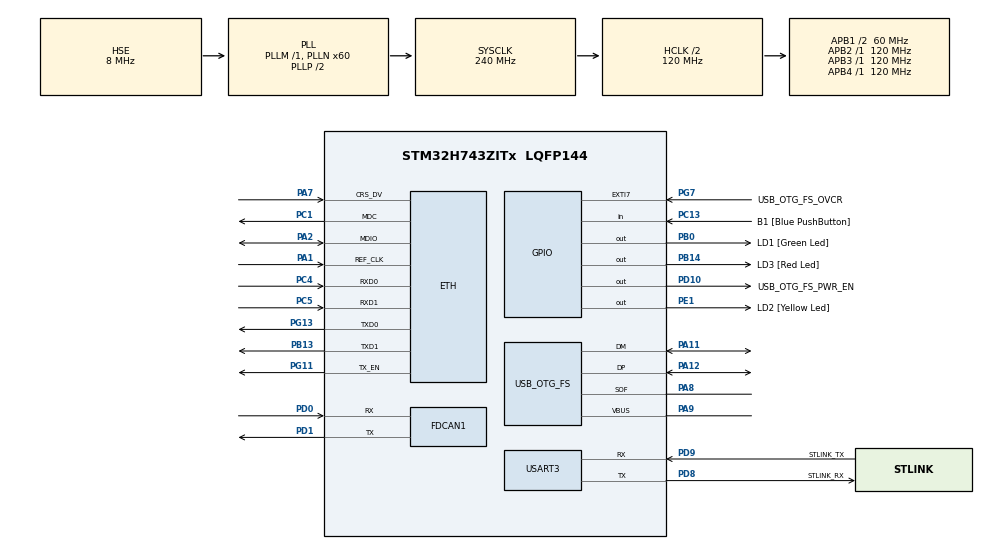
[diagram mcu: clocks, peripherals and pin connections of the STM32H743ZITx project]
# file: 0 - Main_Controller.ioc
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ETH.MediaInterface=HAL_ETH_RMII_MODE
FDCAN1.NominalPrescaler=4
FDCAN1.NominalTimeSeg1=12
FDCAN1.RxBuffersNbr=1
FDCAN1.RxFifo0ElmtsNbr=1
FDCAN1.RxFifo1ElmtsNbr=1
FDCAN1.TxFifoQueueElmtsNbr=1
Mcu.Family=STM32H7
Mcu.Name=STM32H743ZITx
Mcu.Package=LQFP144
NVIC.FDCAN1_IT0_IRQn=true\:0\:0\:false\:false\:true\:true\:true
NVIC.PriorityGroup=NVIC_PRIORITYGROUP_4
NVIC.TIM2_IRQn=true\:1\:0\:true\:false\:true\:true\:true
NVIC.TIM3_IRQn=true\:1\:0\:true\:false\:true\:true\:true
NVIC.TIM4_IRQn=true\:2\:0\:true\:false\:true\:true\:true
NVIC.USART3_IRQn=true\:1\:0\:true\:false\:true\:true\:true
PA1.Mode=RMII
PA1.Signal=ETH_REF_CLK
PA11.Mode=Device_Only
PA11.Signal=USB_OTG_FS_DM
PA12.Mode=Device_Only
PA12.Signal=USB_OTG_FS_DP
PA2.Mode=RMII
PA2.Signal=ETH_MDIO
PA7.Mode=RMII
PA7.Signal=ETH_CRS_DV
PA8.Mode=Activate_SOF_FS
PA8.Signal=USB_OTG_FS_SOF
PA9.Mode=Activate_VBUS
PA9.Signal=USB_OTG_FS_VBUS
PB0.GPIO_Label=LD1 [Green Led]
PB0.Signal=GPIO_Output
PB13.Mode=RMII
PB13.Signal=ETH_TXD1
PB14.GPIO_Label=LD3 [Red Led]
PB14.Signal=GPIO_Output
PC1.Mode=RMII
PC1.Signal=ETH_MDC
PC13.GPIO_Label=B1 [Blue PushButton]
PC13.Signal=GPIO_Input
PC14-OSC32_IN\ (OSC32_IN).Mode=LSE-External-Oscillator
PC14-OSC32_IN\ (OSC32_IN).Signal=RCC_OSC32_IN
PC15-OSC32_OUT\ (OSC32_OUT).Mode=LSE-External-Oscillator
PC15-OSC32_OUT\ (OSC32_OUT).Signal=RCC_OSC32_OUT
PC4.Mode=RMII
PC4.Signal=ETH_RXD0
PC5.Mode=RMII
PC5.Signal=ETH_RXD1
PD0.Mode=FDCAN_Activate
PD0.Signal=FDCAN1_RX
PD1.Mode=FDCAN_Activate
PD1.Signal=FDCAN1_TX
PD10.GPIO_Label=USB_OTG_FS_PWR_EN
PD10.Signal=GPIO_Output
PD8.GPIO_Label=STLINK_RX
PD8.Mode=Asynchronous
PD8.Signal=USART3_TX
PD9.GPIO_Label=STLINK_TX
PD9.Mode=Asynchronous
PD9.Signal=USART3_RX
PE1.GPIO_Label=LD2 [Yellow Led]
PE1.Signal=GPIO_Output
PG11.Mode=RMII
PG11.Signal=ETH_TX_EN
PG13.Mode=RMII
PG13.Signal=ETH_TXD0
PG7.GPIO_Label=USB_OTG_FS_OVCR
PG7.Signal=GPXTI7
PH0-OSC_IN\ (PH0).Mode=HSE-External-Clock-Source
PH0-OSC_IN\ (PH0).Signal=RCC_OSC_IN
PH1-OSC_OUT\ (PH1).Signal=RCC_OSC_OUT
ProjectManager.HeapSize=0x200
ProjectManager.StackSize=0x400
ProjectManager.TargetToolchain=STM32CubeIDE
RCC.ADCFreq_Value=16125000
RCC.APB1Freq_Value=60000000
RCC.APB2Freq_Value=120000000
RCC.APB3Freq_Value=120000000
RCC.APB4Freq_Value=120000000
RCC.CortexFreq_Value=240000000
RCC.D2PPRE1=RCC_APB1_DIV2
RCC.DIVM1=1
RCC.DIVN1=60
RCC.DIVQ1=8
RCC.HCLKFreq_Value=120000000
RCC.HPRE=RCC_HCLK_DIV2
RCC.HSE_VALUE=8000000
RCC.PLL2FRACN=0
RCC.PLL3FRACN=0
RCC.PLLFRACN=0
RCC.PWR_Regulator_Voltage_Scale=PWR_REGULATOR_VOLTAGE_SCALE2
RCC.SYSCLKFreq_VALUE=240000000
RCC.SYSCLKSource=RCC_SYSCLKSOURCE_PLLCLK
RCC.USBFreq_Value=60000000
TIM2.Period=1000
TIM2.Prescaler=120
TIM3.Period=10000
TIM3.Prescaler=120
TIM4.Period=10000 - 1
TIM4.Prescaler=1200 - 1
USART3.VirtualMode-Asynchronous=VM_ASYNC
USB_OTG_FS.VirtualMode=Device_Only
VP_TIM2_VS_ClockSourceINT.Mode=Internal
VP_TIM3_VS_ClockSourceINT.Mode=Internal
VP_TIM4_VS_ClockSourceINT.Mode=Internal
board=NUCLEO-H743ZI2

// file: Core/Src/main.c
/* USER CODE BEGIN Header */
/**
  ******************************************************************************
  * @file           : main.c
  * @brief          : Main program body
  ******************************************************************************
  * POPUP Robot Main Controller
  * @Author: Francesco Gambino
  * @Year: 2021
  *
  ******************************************************************************
  */
/* USER CODE END Header */
#include "main.h"
#include "string.h"

/* USER CODE BEGIN Includes */
#include <math.h>
#include <retarget.h> // Fprintf sulla seriale
#include <stdio.h>
/* USER CODE END Includes */

/* USER CODE BEGIN PD */

// KINEMATIC VARIABLES
#define L1 0.745
#define L2 0.795
#define OFF 0.12
#define L1square 0.555025
#define L2square 0.632025
#define OFFsquare 0.0144

//ACTUATOR LIMITS
#define P_MAX 12.5 // posizione
#define V_MAX 6 // velocità
#define T_MAX 48 // coppia
#define Kp_MAX 500 // non vengono utilizzati, sono posti a zero. Sono relativi al controllo del firmware del driver dei motori
#define Kd_MAX 1000
// CAN ID
#define MOTOR1 1
#define MOTOR2 2
#define MOTOR3 3
#define MOTOR_FB 0 // Nel pacchetto di feedback, ID unico per tutti i motori, è presente una stringa che dichiara da quale motore proviene il feedback

#define LINK_BOARD_1 10
#define LINK_BOARD_2 11
#define LINK_BOARD_FB_MSG_ID 0x6 // ID definito in esadecimale
#define LINK_BOARD_STATUS_MSG_ID 0x14 // ID definito in esadecimale
#define LINK_BOARD_CALIBRATION_CHECK_MSG_ID 0x28 // ID definito in esadecimale
// Gli status, feedback, calibration hanno un unico ID poichè all'interno una stringa mi indica a quale Board mi riferisco

#define MAX_POS_ERROR 0.01

#define MOTOR_FB_DEBUG 0
#define TRAJ_PLAN_DEBUG 0
#define POS_CONTROLLER_DEBUG 0
#define SPEED_CONTROLLER_DEBUG 0

int LINK_FB_DEBUG = 0;
int TELEMETRY  = 0;

//CONTROLLER DEFINEs
#define MAX_INTEGRAL_ERROR 1000
/* USER CODE END PD */

#if defined ( __ICCARM__ ) /*!< IAR Compiler */

#pragma location=0x30040000
ETH_DMADescTypeDef  DMARxDscrTab[ETH_RX_DESC_CNT]; /* Ethernet Rx DMA Descriptors */
#pragma location=0x30040060
ETH_DMADescTypeDef  DMATxDscrTab[ETH_TX_DESC_CNT]; /* Ethernet Tx DMA Descriptors */
#pragma location=0x30040200
uint8_t Rx_Buff[ETH_RX_DESC_CNT][ETH_MAX_PACKET_SIZE]; /* Ethernet Receive Buffers */

#elif defined ( __CC_ARM )  /* MDK ARM Compiler */

__attribute__((at(0x30040000))) ETH_DMADescTypeDef  DMARxDscrTab[ETH_RX_DESC_CNT]; /* Ethernet Rx DMA Descriptors */
__attribute__((at(0x30040060))) ETH_DMADescTypeDef  DMATxDscrTab[ETH_TX_DESC_CNT]; /* Ethernet Tx DMA Descriptors */
__attribute__((at(0x30040200))) uint8_t Rx_Buff[ETH_RX_DESC_CNT][ETH_MAX_PACKET_SIZE]; /* Ethernet Receive Buffer */

#elif defined ( __GNUC__ ) /* GNU Compiler */

ETH_DMADescTypeDef DMARxDscrTab[ETH_RX_DESC_CNT] __attribute__((section(".RxDecripSection"))); /* Ethernet Rx DMA Descriptors */
ETH_DMADescTypeDef DMATxDscrTab[ETH_TX_DESC_CNT] __attribute__((section(".TxDecripSection")));   /* Ethernet Tx DMA Descriptors */
uint8_t Rx_Buff[ETH_RX_DESC_CNT][ETH_MAX_PACKET_SIZE] __attribute__((section(".RxArraySection"))); /* Ethernet Receive Buffers */

#endif

ETH_TxPacketConfig TxConfig;

ETH_HandleTypeDef heth;

FDCAN_HandleTypeDef hfdcan1;

TIM_HandleTypeDef htim2;
TIM_HandleTypeDef htim3;
TIM_HandleTypeDef htim4;

UART_HandleTypeDef huart3;

PCD_HandleTypeDef hpcd_USB_OTG_FS;

/* USER CODE BEGIN PV */
// Fatto da Francesco!
// CAN PARAMETERS AND BUFFERS
FDCAN_TxHeaderTypeDef pTxHeader; //Nome della variabile,dettagliata in seguito
FDCAN_FilterTypeDef sFilterConfig; //Nome della variabile, dettagliata in seguito
FDCAN_RxHeaderTypeDef pRxHeader; //Nome della variabile, dettagliata in seguito

uint8_t CAN_tx_buffer[8]; // Buffer per la trasmissione, 8 elementi ( da 0 a 7)
uint8_t CAN_rx_buffer[8]; // Buffer per la ricezione

//TARGET VARIABLES
float Cartesian_target[3]; // Vettore composto da 3 elementi
float Joint_target[3];
float Joint_speed_target[3];

// ACTUATORS FEEDBACK VARIABLES
float actualPos[3];
float actualSpeed[3];
float actualCurr[3];

// TRAJECTORY PLANNER BUFFER
float Joint_target_plan[2000][3]; //matrix of Ns rows and 3 column
float Joint_speed_target_plan[2000][3];
int plan_counter = 0;
int flag_traj_compl = 0;

// POSITION CONTROLLER VARIABLES
float Joint_target_planned[3]; //here the trajector planner will update the ref point for the position controllers every Ts
float pos_KP[3];
float pos_KI[3];
float pos_KD[3];
float pos_error[3];
float pos_integral[3];
float pos_derivative[3];
float pos_previous_error[3];
float pos_command[3];
volatile int flag_pos_controller = 0;

//  SPEED CONTROLLER VARIABLES
float speed_KP[3];
float speed_KI[3];
float speed_KD[3];
float speed_error[3];
float speed_integral[3];
float speed_derivative[3];
float speed_previous_error[3];
float speed_command[3];
volatile int flag_speed_controller = 0;

// LINK  FEEDBACK VARAIBLES
float actual_horiz_bend = 0; //In futuro occorre creare un vettore di 2 elementi essendoci due 2 link
float actual_vert_bend = 0;
float pressure = 0;

// STATUS VARIABLES
int motor_status_flag[3];
int link_status_flag[2]; //Status: verifico la presenza dell'elemento (assume valori di 0 o 1)
int link_cal_check[2]; // Variabile che uso per verificare la calibrazione (assume valori di 0 o 1)

// VESC CONTROL VARIABLE
float Joint_speed_target_planned[3]; //here the trajector planner will update the ref point for the position controllers every Ts

//SERIAL CARTESIAN INPUT VARIABLE
int flag_wait_new_input = 0;
volatile int input_flag = 0;
uint8_t UART3_rxBuffer[4] = {0};
volatile int input_counter = 0;
int temp_x = 0;
int temp_y = 0;
int temp_z = 0;

/* USER CODE END PV */

void SystemClock_Config(void);
static void MX_GPIO_Init(void);
static void MX_ETH_Init(void);
static void MX_FDCAN1_Init(void);
static void MX_USART3_UART_Init(void);
static void MX_USB_OTG_FS_PCD_Init(void);
static void MX_TIM2_Init(void);
static void MX_TIM3_Init(void);
static void MX_TIM4_Init(void);
/* USER CODE BEGIN PFP */
int float_to_uint(float x, float x_min , float x_max, unsigned int bits);
float uint_to_float( int x_int , float x_min , float x_max , int bits);
// Float sono i numeri a virgola mobile

void CAN_RxFilter_Config();
void CAN_TxHeader_Config();

void ActivateMotor(int id);
void SendTorque(int id, float u);

void unpack_vesc_FB();
void unpack_motor_FB();
void unpack_link_FB();
void unpack_link_STATUS();
void unpack_link_CAL_CHECK();

void InverseKinematic(float EE_target[3], int Mode);
void TrajectorPlanner(float q0[3], float qf[3], float t);
void BendingCorrection();

void PositionController();
void SpeedController();

//veryfy system connectivity (link + sensors)
void POPUP_system_check();
//verify link status (pressure reading)
void POPUP_link_status_check();
//activate motors
void POPUP_activate_motors();
//start controllers
void POPUP_start_controllers();

void POPUP_start_plan();

void POPUP_stop_plan();

//homing
void POPUP_homing();
//send calibration command to link boards
void POPUP_calibrate_link_sensors();

void CAN_TX_vesc_speed(float speed);
/* USER CODE END PFP */

int main(void)
{

  /* MCU Configuration--------------------------------------------------------*/

  /* Reset of all peripherals, Initializes the Flash interface and the Systick. */
  HAL_Init();

  /* Configure the system clock */
  SystemClock_Config();

  /* Initialize all configured peripherals */
  MX_GPIO_Init();
  MX_ETH_Init();
  MX_FDCAN1_Init();
  MX_USART3_UART_Init();
  MX_USB_OTG_FS_PCD_Init();
  MX_TIM2_Init();
  MX_TIM3_Init();
  MX_TIM4_Init();
  /* USER CODE BEGIN 2 */
  RetargetInit(&huart3);

  printf("POPUP Robot Main Controller V0.1\n\n");

  printf("CAN Register Configuring... \n");

   CAN_RxFilter_Config();
   CAN_TxHeader_Config();

   if (   (HAL_FDCAN_Start(& hfdcan1)) == HAL_OK)   // l'ultimo argomento non ci interessa se usiamo la FIFO
 	  printf("CAN PHY started\n");
   else {
	  printf("CAN PHY initialization error\n");
	  //while(1);

   }
   //HAL_FDCAN_ConfigInterruptLines(&hfdcan1, FDCAN_IT_RX_FIFO0_NEW_MESSAGE, FDCAN_INTERRUPT_LINE0);
   if ( HAL_FDCAN_ActivateNotification(&hfdcan1, FDCAN_IT_RX_FIFO0_NEW_MESSAGE, 0) == HAL_OK)   // l'ultimo argomento non ci interessa se usiamo la FIFO
 	  printf("CAN Configuring: DONE\n\n\n");

   ////////////////////////////////////////////////////
   //assign controllers parameter

	//joint 2 position PID controller gain
	 pos_KP[1] = 5;
	 pos_KI[1] = 0.0;
	 pos_KD[1] = 0;
	//joint 2 speed PID controller gain
	 speed_KP[1] = 15;
	 speed_KI[1] = 0;
	 speed_KD[1] = 1;

	//joint 3 position PID controller gain
	 pos_KP[2] = 5;
	 pos_KI[2] = 0;
	 pos_KD[2] = 0;

	//joint 3 speed PID controller gain
	 speed_KP[2] = 15;
	 speed_KI[2] = 0;
	 speed_KD[2] = 1;

	/////////////////////////////////////
  //veryfy system status (link + sensors)
	POPUP_system_check();
 //send calibration command to link boards
	POPUP_calibrate_link_sensors(11);

  //activate motors
	POPUP_activate_motors();

	printf("\nSystem Initialized\n\n");

	HAL_Delay(1000);

	printf("\Starting Homing Procedure\n");

  //start controllers
  //homing
	 //POPUP_
	POPUP_homing();
  //start loop

  //start controllers
  POPUP_start_controllers();

  //start planned movement
  POPUP_start_plan();

  //start print telemetry (received from simulink)
  TELEMETRY = 1;
  /* USER CODE END 2 */

  /* Infinite loop */
  /* USER CODE BEGIN WHILE */
  while (1)
  {

	 if(flag_pos_controller  == 1)
		 PositionController();

	if(flag_speed_controller == 1) {

		SpeedController();

	  	CAN_TX_vesc_speed(-Joint_speed_target_planned[0]);

	  	if(TELEMETRY)
	  		//printf("%3.2f\n",actual_horiz_bend);
	  		//printf("%1.4f,%1.4f,%1.4f,%1.4f\n",Joint_target_planned[1],actualPos[1],Joint_speed_target_planned[1],actualSpeed[1]); //joint 2 position command and feedback
	  		printf("%1.4f,%3.2f\n",actualPos[2],actual_horiz_bend); //joint 2 position command and feedback

	 	if(flag_traj_compl == 1) {
	 			//printf("\n Planned Trajectory Completed\n");
	 			flag_traj_compl = 0;
	 			//TELEMETRY = 0;
	 			POPUP_stop_plan();
	 			//printf("\nInsert new cartesian target\n");
	 			input_counter = 0;
	 			HAL_UART_Receive_IT (&huart3, UART3_rxBuffer, 4); //enable receive interrupt on uart

	 	}

	}

//	if(flag_wait_new_input == 1) {
//		printf("New Cartesian input: X: %dmm  Y: %dmm  Z: %dmm \n",temp_x,temp_y,temp_z);
//
//		flag_wait_new_input = 0;
//
//		  Cartesian_target[0] = (float)temp_x/1000.0F; //X
//		  Cartesian_target[1] = (float)temp_y/1000.0F; //Y
//		  Cartesian_target[2] = (float)temp_z/1000.0F; //Z
//
//
//		//compute new trajectory planning
//		  printf("Target = [ X: %f   Y: %f   Z: %f ]\n",Cartesian_target[0],Cartesian_target[1],Cartesian_target[2]);
//
//		    InverseKinematic(Cartesian_target, 1); //Target[3] , Mode (elbow up,down)
//
//		    printf("Joint Target = [ q1: %f   q2: %f   q3: %f ]\n",Joint_target[0],Joint_target[1],Joint_target[2]);
//		    printf("Actual Joint position = [ q1: %f   q2: %f  q3: %f ]\n",actualPos[0],actualPos[1],actualPos[2]);
//		    Joint_target[2] = -Joint_target[2];
//
//		   TrajectorPlanner(actualPos, Joint_target, 10);
//
//		  printf("\nStarting trajectory planning completed.\n");
//
//
//		  if(TRAJ_PLAN_DEBUG) {
//			  int i,j;
//			  for(i = 0; i < 3; i++) {
//				  for(j = 0; j < 101; j++) {
//					  printf("T: %f q%d: %f  qd%d: %f\n",(j*0.1),i,Joint_target_plan[j][i],i,Joint_speed_target_plan[j][i]); //matrix of Ns rows and 3 column
//				  	  }
//				  printf("\n\n");
//			  	  }
//		  }
//
//		  //assign the first planned variable to the position controller input
//		  for(int m = 0; m<3; m++) {
//			  Joint_target_planned[m] = Joint_target_plan[0][m];
//		  }
//
//		  TELEMETRY = 1;
//		  POPUP_start_plan();
//
//
//
//	}

	  //printf("VESC target speed: %f\n",Joint_speed_target_planned[0]);

    /* USER CODE END WHILE */

  }
}

void SystemClock_Config(void)
{
  RCC_OscInitTypeDef RCC_OscInitStruct = {0};
  RCC_ClkInitTypeDef RCC_ClkInitStruct = {0};

  /** Supply configuration update enable
  */
  HAL_PWREx_ConfigSupply(PWR_LDO_SUPPLY);
  /** Configure the main internal regulator output voltage
  */
  __HAL_PWR_VOLTAGESCALING_CONFIG(PWR_REGULATOR_VOLTAGE_SCALE2);

  while(!__HAL_PWR_GET_FLAG(PWR_FLAG_VOSRDY)) {}
  /** Initializes the RCC Oscillators according to the specified parameters
  * in the RCC_OscInitTypeDef structure.
  */
  RCC_OscInitStruct.OscillatorType = RCC_OSCILLATORTYPE_HSE;
  RCC_OscInitStruct.HSEState = RCC_HSE_BYPASS;
  RCC_OscInitStruct.PLL.PLLState = RCC_PLL_ON;
  RCC_OscInitStruct.PLL.PLLSource = RCC_PLLSOURCE_HSE;
  RCC_OscInitStruct.PLL.PLLM = 1;
  RCC_OscInitStruct.PLL.PLLN = 60;
  RCC_OscInitStruct.PLL.PLLP = 2;
  RCC_OscInitStruct.PLL.PLLQ = 8;
  RCC_OscInitStruct.PLL.PLLR = 2;
  RCC_OscInitStruct.PLL.PLLRGE = RCC_PLL1VCIRANGE_3;
  RCC_OscInitStruct.PLL.PLLVCOSEL = RCC_PLL1VCOWIDE;
  RCC_OscInitStruct.PLL.PLLFRACN = 0;
  if (HAL_RCC_OscConfig(&RCC_OscInitStruct) != HAL_OK)
  {
    Error_Handler();
  }
  /** Initializes the CPU, AHB and APB buses clocks
  */
  RCC_ClkInitStruct.ClockType = RCC_CLOCKTYPE_HCLK|RCC_CLOCKTYPE_SYSCLK
                              |RCC_CLOCKTYPE_PCLK1|RCC_CLOCKTYPE_PCLK2
                              |RCC_CLOCKTYPE_D3PCLK1|RCC_CLOCKTYPE_D1PCLK1;
  RCC_ClkInitStruct.SYSCLKSource = RCC_SYSCLKSOURCE_PLLCLK;
  RCC_ClkInitStruct.SYSCLKDivider = RCC_SYSCLK_DIV1;
  RCC_ClkInitStruct.AHBCLKDivider = RCC_HCLK_DIV2;
  RCC_ClkInitStruct.APB3CLKDivider = RCC_APB3_DIV1;
  RCC_ClkInitStruct.APB1CLKDivider = RCC_APB1_DIV2;
  RCC_ClkInitStruct.APB2CLKDivider = RCC_APB2_DIV1;
  RCC_ClkInitStruct.APB4CLKDivider = RCC_APB4_DIV1;

  if (HAL_RCC_ClockConfig(&RCC_ClkInitStruct, FLASH_LATENCY_2) != HAL_OK)
  {
    Error_Handler();
  }
}

static void MX_ETH_Init(void)
{

   static uint8_t MACAddr[6];

  heth.Instance = ETH;
  MACAddr[0] = 0x00;
  MACAddr[1] = 0x80;
  MACAddr[2] = 0xE1;
  MACAddr[3] = 0x00;
  MACAddr[4] = 0x00;
  MACAddr[5] = 0x00;
  heth.Init.MACAddr = &MACAddr[0];
  heth.Init.MediaInterface = HAL_ETH_RMII_MODE;
  heth.Init.TxDesc = DMATxDscrTab;
  heth.Init.RxDesc = DMARxDscrTab;
  heth.Init.RxBuffLen = 1524;

  if (HAL_ETH_Init(&heth) != HAL_OK)
  {
    Error_Handler();
  }

  memset(&TxConfig, 0 , sizeof(ETH_TxPacketConfig));
  TxConfig.Attributes = ETH_TX_PACKETS_FEATURES_CSUM | ETH_TX_PACKETS_FEATURES_CRCPAD;
  TxConfig.ChecksumCtrl = ETH_CHECKSUM_IPHDR_PAYLOAD_INSERT_PHDR_CALC;
  TxConfig.CRCPadCtrl = ETH_CRC_PAD_INSERT;

}

static void MX_FDCAN1_Init(void)
{

  hfdcan1.Instance = FDCAN1;
  hfdcan1.Init.FrameFormat = FDCAN_FRAME_CLASSIC;
  hfdcan1.Init.Mode = FDCAN_MODE_NORMAL;
  hfdcan1.Init.AutoRetransmission = DISABLE;
  hfdcan1.Init.TransmitPause = DISABLE;
  hfdcan1.Init.ProtocolException = DISABLE;
  hfdcan1.Init.NominalPrescaler = 4;
  hfdcan1.Init.NominalSyncJumpWidth = 1;
  hfdcan1.Init.NominalTimeSeg1 = 12;
  hfdcan1.Init.NominalTimeSeg2 = 2;
  hfdcan1.Init.DataPrescaler = 1;
  hfdcan1.Init.DataSyncJumpWidth = 1;
  hfdcan1.Init.DataTimeSeg1 = 1;
  hfdcan1.Init.DataTimeSeg2 = 1;
  hfdcan1.Init.MessageRAMOffset = 0;
  hfdcan1.Init.StdFiltersNbr = 0;
  hfdcan1.Init.ExtFiltersNbr = 0;
  hfdcan1.Init.RxFifo0ElmtsNbr = 1;
  hfdcan1.Init.RxFifo0ElmtSize = FDCAN_DATA_BYTES_8;
  hfdcan1.Init.RxFifo1ElmtsNbr = 1;
  hfdcan1.Init.RxFifo1ElmtSize = FDCAN_DATA_BYTES_8;
  hfdcan1.Init.RxBuffersNbr = 1;
  hfdcan1.Init.RxBufferSize = FDCAN_DATA_BYTES_8;
  hfdcan1.Init.TxEventsNbr = 0;
  hfdcan1.Init.TxBuffersNbr = 0;
  hfdcan1.Init.TxFifoQueueElmtsNbr = 1;
  hfdcan1.Init.TxFifoQueueMode = FDCAN_TX_FIFO_OPERATION;
  hfdcan1.Init.TxElmtSize = FDCAN_DATA_BYTES_8;
  if (HAL_FDCAN_Init(&hfdcan1) != HAL_OK)
  {
    Error_Handler();
  }

}

static void MX_TIM2_Init(void)
{

  TIM_ClockConfigTypeDef sClockSourceConfig = {0};
  TIM_MasterConfigTypeDef sMasterConfig = {0};

  htim2.Instance = TIM2;
  htim2.Init.Prescaler = 120 - 1;
  htim2.Init.CounterMode = TIM_COUNTERMODE_UP;
  htim2.Init.Period = 1000 - 1;
  htim2.Init.ClockDivision = TIM_CLOCKDIVISION_DIV1;
  htim2.Init.AutoReloadPreload = TIM_AUTORELOAD_PRELOAD_DISABLE;
  if (HAL_TIM_Base_Init(&htim2) != HAL_OK)
  {
    Error_Handler();
  }
  sClockSourceConfig.ClockSource = TIM_CLOCKSOURCE_INTERNAL;
  if (HAL_TIM_ConfigClockSource(&htim2, &sClockSourceConfig) != HAL_OK)
  {
    Error_Handler();
  }
  sMasterConfig.MasterOutputTrigger = TIM_TRGO_RESET;
  sMasterConfig.MasterSlaveMode = TIM_MASTERSLAVEMODE_DISABLE;
  if (HAL_TIMEx_MasterConfigSynchronization(&htim2, &sMasterConfig) != HAL_OK)
  {
    Error_Handler();
  }

}

static void MX_TIM3_Init(void)
{

  TIM_ClockConfigTypeDef sClockSourceConfig = {0};
  TIM_MasterConfigTypeDef sMasterConfig = {0};

  htim3.Instance = TIM3;
  htim3.Init.Prescaler = 120 - 1;
  htim3.Init.CounterMode = TIM_COUNTERMODE_UP;
  htim3.Init.Period = 10000 - 1;
  htim3.Init.ClockDivision = TIM_CLOCKDIVISION_DIV1;
  htim3.Init.AutoReloadPreload = TIM_AUTORELOAD_PRELOAD_DISABLE;
  if (HAL_TIM_Base_Init(&htim3) != HAL_OK)
  {
    Error_Handler();
  }
  sClockSourceConfig.ClockSource = TIM_CLOCKSOURCE_INTERNAL;
  if (HAL_TIM_ConfigClockSource(&htim3, &sClockSourceConfig) != HAL_OK)
  {
    Error_Handler();
  }
  sMasterConfig.MasterOutputTrigger = TIM_TRGO_RESET;
  sMasterConfig.MasterSlaveMode = TIM_MASTERSLAVEMODE_DISABLE;
  if (HAL_TIMEx_MasterConfigSynchronization(&htim3, &sMasterConfig) != HAL_OK)
  {
    Error_Handler();
  }

}

static void MX_TIM4_Init(void)
{

  TIM_ClockConfigTypeDef sClockSourceConfig = {0};
  TIM_MasterConfigTypeDef sMasterConfig = {0};

  htim4.Instance = TIM4;
  htim4.Init.Prescaler = 1200 - 1;
  htim4.Init.CounterMode = TIM_COUNTERMODE_UP;
  htim4.Init.Period = 10000 - 1;
  htim4.Init.ClockDivision = TIM_CLOCKDIVISION_DIV1;
  htim4.Init.AutoReloadPreload = TIM_AUTORELOAD_PRELOAD_DISABLE;
  if (HAL_TIM_Base_Init(&htim4) != HAL_OK)
  {
    Error_Handler();
  }
  sClockSourceConfig.ClockSource = TIM_CLOCKSOURCE_INTERNAL;
  if (HAL_TIM_ConfigClockSource(&htim4, &sClockSourceConfig) != HAL_OK)
  {
    Error_Handler();
  }
  sMasterConfig.MasterOutputTrigger = TIM_TRGO_RESET;
  sMasterConfig.MasterSlaveMode = TIM_MASTERSLAVEMODE_DISABLE;
  if (HAL_TIMEx_MasterConfigSynchronization(&htim4, &sMasterConfig) != HAL_OK)
  {
    Error_Handler();
  }

}

static void MX_USART3_UART_Init(void)
{

  huart3.Instance = USART3;
  huart3.Init.BaudRate = 115200;
  huart3.Init.WordLength = UART_WORDLENGTH_8B;
  huart3.Init.StopBits = UART_STOPBITS_1;
  huart3.Init.Parity = UART_PARITY_NONE;
  huart3.Init.Mode = UART_MODE_TX_RX;
  huart3.Init.HwFlowCtl = UART_HWCONTROL_NONE;
  huart3.Init.OverSampling = UART_OVERSAMPLING_16;
  huart3.Init.OneBitSampling = UART_ONE_BIT_SAMPLE_DISABLE;
  huart3.Init.ClockPrescaler = UART_PRESCALER_DIV1;
  huart3.AdvancedInit.AdvFeatureInit = UART_ADVFEATURE_NO_INIT;
  if (HAL_UART_Init(&huart3) != HAL_OK)
  {
    Error_Handler();
  }
  if (HAL_UARTEx_SetTxFifoThreshold(&huart3, UART_TXFIFO_THRESHOLD_1_8) != HAL_OK)
  {
    Error_Handler();
  }
  if (HAL_UARTEx_SetRxFifoThreshold(&huart3, UART_RXFIFO_THRESHOLD_1_8) != HAL_OK)
  {
    Error_Handler();
  }
  if (HAL_UARTEx_DisableFifoMode(&huart3) != HAL_OK)
  {
    Error_Handler();
  }

}

static void MX_USB_OTG_FS_PCD_Init(void)
{

  hpcd_USB_OTG_FS.Instance = USB_OTG_FS;
  hpcd_USB_OTG_FS.Init.dev_endpoints = 9;
  hpcd_USB_OTG_FS.Init.speed = PCD_SPEED_FULL;
  hpcd_USB_OTG_FS.Init.dma_enable = DISABLE;
  hpcd_USB_OTG_FS.Init.phy_itface = PCD_PHY_EMBEDDED;
  hpcd_USB_OTG_FS.Init.Sof_enable = ENABLE;
  hpcd_USB_OTG_FS.Init.low_power_enable = DISABLE;
  hpcd_USB_OTG_FS.Init.lpm_enable = DISABLE;
  hpcd_USB_OTG_FS.Init.battery_charging_enable = ENABLE;
  hpcd_USB_OTG_FS.Init.vbus_sensing_enable = ENABLE;
  hpcd_USB_OTG_FS.Init.use_dedicated_ep1 = DISABLE;
  if (HAL_PCD_Init(&hpcd_USB_OTG_FS) != HAL_OK)
  {
    Error_Handler();
  }

}

static void MX_GPIO_Init(void)
{
  GPIO_InitTypeDef GPIO_InitStruct = {0};

  /* GPIO Ports Clock Enable */
  __HAL_RCC_GPIOC_CLK_ENABLE();
  __HAL_RCC_GPIOH_CLK_ENABLE();
  __HAL_RCC_GPIOA_CLK_ENABLE();
  __HAL_RCC_GPIOB_CLK_ENABLE();
  __HAL_RCC_GPIOD_CLK_ENABLE();
  __HAL_RCC_GPIOG_CLK_ENABLE();
  __HAL_RCC_GPIOE_CLK_ENABLE();

  /*Configure GPIO pin Output Level */
  HAL_GPIO_WritePin(GPIOB, LD1_Pin|LD3_Pin, GPIO_PIN_RESET);

  /*Configure GPIO pin Output Level */
  HAL_GPIO_WritePin(USB_OTG_FS_PWR_EN_GPIO_Port, USB_OTG_FS_PWR_EN_Pin, GPIO_PIN_RESET);

  /*Configure GPIO pin Output Level */
  HAL_GPIO_WritePin(LD2_GPIO_Port, LD2_Pin, GPIO_PIN_RESET);

  /*Configure GPIO pin : B1_Pin */
  GPIO_InitStruct.Pin = B1_Pin;
  GPIO_InitStruct.Mode = GPIO_MODE_INPUT;
  GPIO_InitStruct.Pull = GPIO_NOPULL;
  HAL_GPIO_Init(B1_GPIO_Port, &GPIO_InitStruct);

  /*Configure GPIO pins : LD1_Pin LD3_Pin */
  GPIO_InitStruct.Pin = LD1_Pin|LD3_Pin;
  GPIO_InitStruct.Mode = GPIO_MODE_OUTPUT_PP;
  GPIO_InitStruct.Pull = GPIO_NOPULL;
  GPIO_InitStruct.Speed = GPIO_SPEED_FREQ_LOW;
  HAL_GPIO_Init(GPIOB, &GPIO_InitStruct);

  /*Configure GPIO pin : USB_OTG_FS_PWR_EN_Pin */
  GPIO_InitStruct.Pin = USB_OTG_FS_PWR_EN_Pin;
  GPIO_InitStruct.Mode = GPIO_MODE_OUTPUT_PP;
  GPIO_InitStruct.Pull = GPIO_NOPULL;
  GPIO_InitStruct.Speed = GPIO_SPEED_FREQ_LOW;
  HAL_GPIO_Init(USB_OTG_FS_PWR_EN_GPIO_Port, &GPIO_InitStruct);

  /*Configure GPIO pin : USB_OTG_FS_OVCR_Pin */
  GPIO_InitStruct.Pin = USB_OTG_FS_OVCR_Pin;
  GPIO_InitStruct.Mode = GPIO_MODE_IT_RISING;
  GPIO_InitStruct.Pull = GPIO_NOPULL;
  HAL_GPIO_Init(USB_OTG_FS_OVCR_GPIO_Port, &GPIO_InitStruct);

  /*Configure GPIO pin : LD2_Pin */
  GPIO_InitStruct.Pin = LD2_Pin;
  GPIO_InitStruct.Mode = GPIO_MODE_OUTPUT_PP;
  GPIO_InitStruct.Pull = GPIO_NOPULL;
  GPIO_InitStruct.Speed = GPIO_SPEED_FREQ_LOW;
  HAL_GPIO_Init(LD2_GPIO_Port, &GPIO_InitStruct);

}

/* USER CODE BEGIN 4 */
void CAN_RxFilter_Config(void)
{
  sFilterConfig.FilterIndex = 0;
  sFilterConfig.IdType = FDCAN_EXTENDED_ID;
  sFilterConfig.FilterType = FDCAN_FILTER_MASK;
  sFilterConfig.FilterConfig = FDCAN_FILTER_TO_RXFIFO0 ;
  sFilterConfig.FilterID1 = 0x00000000;
  sFilterConfig.FilterID2 = 0x00000000;  // mask => allow id from 0x00000150 to 0x0000015F

  HAL_FDCAN_ConfigFilter(&hfdcan1, &sFilterConfig);

  //HAL_FDCAN_ConfigGlobalFilter(&hfdcan1, FDCAN_REJECT, FDCAN_REJECT, FDCAN_REJECT_REMOTE, FDCAN_REJECT_REMOTE);

}

void CAN_TxHeader_Config(void)
{
 pTxHeader.Identifier = 0x00000140;
 pTxHeader.IdType = FDCAN_EXTENDED_ID;                // specifies extended id
 pTxHeader.TxFrameType = FDCAN_DATA_FRAME ;           // frame type
 pTxHeader.DataLength = FDCAN_DLC_BYTES_4;            // specifies frame length
 pTxHeader.ErrorStateIndicator = FDCAN_ESI_ACTIVE;
 pTxHeader.BitRateSwitch = FDCAN_BRS_OFF;
 pTxHeader.FDFormat = FDCAN_CLASSIC_CAN;
 pTxHeader.TxEventFifoControl = FDCAN_NO_TX_EVENTS;
 pTxHeader.MessageMarker = 0;
}

void HAL_FDCAN_RxFifo0Callback(FDCAN_HandleTypeDef *hfdcan, uint32_t RxFifo0ITs)
{

	if((RxFifo0ITs & FDCAN_IT_RX_FIFO0_NEW_MESSAGE) != RESET)
	{
		if (HAL_FDCAN_GetRxMessage(&hfdcan1,FDCAN_RX_FIFO0, &pRxHeader, CAN_rx_buffer) == HAL_OK) {
		}

	if((pRxHeader.Identifier == 0)) //feedback from motor (position, speed)
		      {
		unpack_motor_FB();
		HAL_GPIO_TogglePin(LD2_GPIO_Port, LD2_Pin); // yellow led

		      }

	if((pRxHeader.Identifier == LINK_BOARD_FB_MSG_ID)) //feedback from link data board (bending estimate)
		      {
		unpack_link_FB();
		HAL_GPIO_TogglePin(GPIOB, LD1_Pin); // green led

		      }
	if((pRxHeader.Identifier == LINK_BOARD_STATUS_MSG_ID)) //status message with id 20 (DEC)
		      {
		unpack_link_STATUS();
		      }
	if((pRxHeader.Identifier == LINK_BOARD_CALIBRATION_CHECK_MSG_ID)) //status message with id 20 (DEC)
		      {
		unpack_link_CAL_CHECK();
		      }
	if((pRxHeader.Identifier == 2305)) //status message from vesc
		      {
		unpack_vesc_FB();
		      }
	//    for(int i = 0; i < pRxHeader.DataLength; i++)
	//  printf("CAN_BUFF_RX[%d]: %d\n",i,CAN_rx_buffer[i]);

	}
}

void unpack_vesc_FB() {

	  uint32_t rpm = ((CAN_rx_buffer[0] << 24) +(CAN_rx_buffer[1] << 16) + (CAN_rx_buffer[2] << 8) + CAN_rx_buffer[3])/14;

	  float mot1_speed = (float)(rpm/1120.0); //1120 = 14(pole-pair motor)*80 (gearbox reduction)

	  actualSpeed[0] = mot1_speed;
	  //printf("Speed : %f rad/s \n",mot1_speed*0.10472 );

	  //printf("rpm : %d \n",rpm);

}

void unpack_motor_FB() {
  //if it is the first time execution for each motor i must set the status flag

  int motor_id = CAN_rx_buffer[0];

  int pos_int = CAN_rx_buffer[1] << 8 | CAN_rx_buffer[2];

  int vel_int = CAN_rx_buffer[3] << 4 | CAN_rx_buffer[4] >> 4;

  int current_int = (CAN_rx_buffer[4] & 0xF) << 8 | CAN_rx_buffer[5];

  actualPos[motor_id -1] = uint_to_float(pos_int, -P_MAX, P_MAX, 16);

  actualSpeed[motor_id -1] = uint_to_float(vel_int, -V_MAX, V_MAX, 12);

  actualCurr[motor_id -1] = uint_to_float(current_int, -T_MAX , T_MAX, 12);

  if(motor_id == MOTOR1 && motor_status_flag[0] == 0)
	  motor_status_flag[0] = 1;

  if(motor_id == MOTOR2 && motor_status_flag[1] == 0)
	  motor_status_flag[1] = 1;

  if(motor_id == MOTOR3 && motor_status_flag[2] == 0)
	  motor_status_flag[2] = 1;

  if (MOTOR_FB_DEBUG) {
    printf("CAN_ID: %2d - Pos[rad]: %8f - Vel[rad/s]: %10f - Torque[Nm]: %8f \n",motor_id,actualPos[motor_id],actualSpeed[motor_id],actualCurr[motor_id]);
  	  }
}

void unpack_link_FB() {

  int link_id = CAN_rx_buffer[0];

  int bend_horiz_int = CAN_rx_buffer[1] << 8 | CAN_rx_buffer[2]; //16 bit

  int bend_vert_int = CAN_rx_buffer[3] << 8 | CAN_rx_buffer[4];

  int pressure_int = CAN_rx_buffer[5] << 8 | CAN_rx_buffer[6];

actual_horiz_bend = uint_to_float(bend_horiz_int, -90, 90, 16);

actual_vert_bend =  uint_to_float(bend_vert_int, -90, 90, 16);

pressure = uint_to_float(pressure_int, 0, 2, 16);

link_status_flag[link_id - 10] = CAN_rx_buffer[5]; //

  if (LINK_FB_DEBUG) {
    printf("%d - %2.1f - %2.1f - %f\n",link_id - 9,actual_horiz_bend,actual_vert_bend,pressure);
  }
}

void unpack_link_STATUS() {

	  int link_id = CAN_rx_buffer[0];

	  int imu_status = CAN_rx_buffer[1];

	  int adc_status = CAN_rx_buffer[2];

	  int pressure_int = CAN_rx_buffer[3] << 8 | CAN_rx_buffer[4];

	  float pressure =  uint_to_float(pressure_int, 0, 2, 16);

	link_status_flag[link_id - 10] = imu_status*adc_status; //

	  if (LINK_FB_DEBUG) {
	    printf("LINK_ID: %d - Link Pressure: %1.2f - IMU_Status: %d - ADC_Status: %d - System Status: &d \n",link_id,pressure,imu_status,adc_status,link_status_flag[link_id - 10]);
	  }

}

void unpack_link_CAL_CHECK() {

	  int link_id = CAN_rx_buffer[0];

	  int cal_check = CAN_rx_buffer[1];

	link_cal_check[link_id - 10] = cal_check; //

	  if (LINK_FB_DEBUG) {
	    printf("LINK_ID: %d - Calibration Status: &d \n",link_id,link_cal_check[link_id - 10]);
	  }

}

void CAN_TX_link_board_status_check(int id) {
	     pTxHeader.Identifier = 0x30;							  //status check message id
		 pTxHeader.IdType = FDCAN_STANDARD_ID;                // specifies extended id
		 pTxHeader.TxFrameType = FDCAN_DATA_FRAME ;           // frame type
		 pTxHeader.DataLength = FDCAN_DLC_BYTES_2;

		 CAN_tx_buffer[0] = id;
		 CAN_tx_buffer[1] = 1;

 		  if (HAL_FDCAN_AddMessageToTxFifoQ(&hfdcan1, &pTxHeader, CAN_tx_buffer) == HAL_OK) {
 			  //HAL_GPIO_TogglePin(GPIOB, LD3_Pin);
 		  }

}

void CAN_TX_link_board_calibration(int id) {
	     pTxHeader.Identifier = 0x32;							  //status check message id
		 pTxHeader.IdType = FDCAN_STANDARD_ID;                // specifies extended id
		 pTxHeader.TxFrameType = FDCAN_DATA_FRAME ;           // frame type
		 pTxHeader.DataLength = FDCAN_DLC_BYTES_2;

		 CAN_tx_buffer[0] = id;
		 CAN_tx_buffer[1] = 1;

 		  if (HAL_FDCAN_AddMessageToTxFifoQ(&hfdcan1, &pTxHeader, CAN_tx_buffer) == HAL_OK) {
 			  //HAL_GPIO_TogglePin(GPIOB, LD3_Pin);
 		  }

}

void CAN_TX_vesc_speed(float speed) {
	//vesc id is 1

	float s = speed;

	 pTxHeader.IdType = FDCAN_EXTENDED_ID;                // specifies extended id

    pTxHeader.Identifier = 0x00000301;
    //status check message id
	 pTxHeader.TxFrameType = FDCAN_DATA_FRAME ;           // frame type
	 pTxHeader.DataLength = FDCAN_DLC_BYTES_4;

	 //take speed argument (rad/s)
	 //convert to ERPM
	 int erpm =(int)((s*9.5463*21.0*80.0)); //(rad/s)*(RPM_con)*(pole-pair)*(reduction);

		 CAN_tx_buffer[0] = erpm >> 24;
		 CAN_tx_buffer[1] = erpm >> 16;
		 CAN_tx_buffer[2] = erpm >> 8;
		 CAN_tx_buffer[3] = erpm;

	 if (HAL_FDCAN_AddMessageToTxFifoQ(&hfdcan1, &pTxHeader, CAN_tx_buffer) == HAL_OK) {
		  //HAL_GPIO_TogglePin(GPIOB, LD3_Pin);
	  }
}

void ActivateMotor(int id) {

	pTxHeader.Identifier = id;
	pTxHeader.IdType = FDCAN_STANDARD_ID;                // specifies extended id
	 pTxHeader.TxFrameType = FDCAN_DATA_FRAME ;           // frame type
	 pTxHeader.DataLength = FDCAN_DLC_BYTES_8;

		  		CAN_tx_buffer[0] = 0XFF;
		  		CAN_tx_buffer[1] = 0XFF;
		  		CAN_tx_buffer[2] = 0XFF;
		  		CAN_tx_buffer[3] = 0XFF;
		  		CAN_tx_buffer[4] = 0XFF;
		  		CAN_tx_buffer[5] = 0XFF;
		  		CAN_tx_buffer[6] = 0XFF;
		  		CAN_tx_buffer[7] = 0XFC;

		  		  if (HAL_FDCAN_AddMessageToTxFifoQ(&hfdcan1, &pTxHeader, CAN_tx_buffer) == HAL_OK) {
		  			  //HAL_GPIO_TogglePin(GPIOB, LD3_Pin);
		  			 printf("Motor %lu Activated \n",pTxHeader.Identifier);
		  		  }
}

void DeactivateMotor(int id) {

	pTxHeader.Identifier = id;
	pTxHeader.IdType = FDCAN_STANDARD_ID;                // specifies extended id
	 pTxHeader.TxFrameType = FDCAN_DATA_FRAME ;           // frame type
	 pTxHeader.DataLength = FDCAN_DLC_BYTES_8;

		  		CAN_tx_buffer[0] = 0XFF;
		  		CAN_tx_buffer[1] = 0XFF;
		  		CAN_tx_buffer[2] = 0XFF;
		  		CAN_tx_buffer[3] = 0XFF;
		  		CAN_tx_buffer[4] = 0XFF;
		  		CAN_tx_buffer[5] = 0XFF;
		  		CAN_tx_buffer[6] = 0XFF;
		  		CAN_tx_buffer[7] = 0XFD;

		  		  if (HAL_FDCAN_AddMessageToTxFifoQ(&hfdcan1, &pTxHeader, CAN_tx_buffer) == HAL_OK) {
		  			  //HAL_GPIO_TogglePin(GPIOB, LD3_Pin);
		  			  //printf("Motor %lu Activated \n",pTxHeader.Identifier);
		  		  }
}

void SendTorque(int id, float u) {

	  float p_des = 0;
	  float v_des = 0;
	  float t_ff = u; //Consigliato copiare la variabile in una variabile locale

	  float KP = 0;
	  float KD = 0;

	  // Il motore vuole la posizione in 16 bit e la velocità in 12 bit
	  int p_int = float_to_uint(p_des, -P_MAX, P_MAX, 16);
	  int v_int = float_to_uint(v_des, -V_MAX, V_MAX, 12);

	  int kp_int = float_to_uint(KP, 0, Kp_MAX, 12);
	  int kd_int = float_to_uint(KD, 0, Kd_MAX, 12);

	  int t_int = float_to_uint(t_ff, -T_MAX, T_MAX, 12);

	  pTxHeader.Identifier = id;
	  // Usa il tasto declaration per controllare le varie possibilità
	  pTxHeader.IdType = FDCAN_STANDARD_ID;                // specifies id, usiamo un ID standard
	  pTxHeader.TxFrameType = FDCAN_DATA_FRAME ;           // frame type
	  pTxHeader.DataLength = FDCAN_DLC_BYTES_8;            // 8 byte

	  CAN_tx_buffer[0] = p_int >> 8; //pos 8H
	  CAN_tx_buffer[1] = p_int & 0xFF; //pos 8L FF sono tutti elementi pari a 1
// Maschera
// Vedi datasheet motore
	  CAN_tx_buffer[2] = v_int >> 4; // speed 8H
	  CAN_tx_buffer[3] = ((v_int & 0xF) << 4) | (kp_int >> 8) ; //speed 4L KP 8H

	  CAN_tx_buffer[4] = kp_int & 0xFF; // KP 8L

	  CAN_tx_buffer[5] = kd_int >> 4; // kd 8H

	  CAN_tx_buffer[6] = ((kd_int & 0xF) << 4) | (t_int >> 8) ;   // KP 4L  Torque $H

	  CAN_tx_buffer[7] = t_int & 0xFF; // torque 8L

	  // La & mi serve per puntare all'indirizzo di memoria
	  if (HAL_FDCAN_AddMessageToTxFifoQ(&hfdcan1, &pTxHeader, CAN_tx_buffer) == HAL_OK) {

		  }
	  //else
	  //printf("Error sending command to Motor %d\n",id);
}

void InverseKinematic(float EE_target[3], int Mode)

{

  //LOCAL VARIABLE
  float X = EE_target[0];
  float Y = EE_target[1];
  float Z = EE_target[2];

  float Xsquare = pow(X, 2);
  float Ysquare = pow(Y, 2);
  float Zsquare = pow(Z, 2);

  float K = sqrt(Xsquare + Ysquare - OFFsquare);
  float Ksquare = pow(K, 2);
  float c3, s3_p, c1, s1,s3_m;

  if (Z < 0)
  {
    printf("Z must be > 0\n");
        return;
  }

  //compute cosine of joint 3
  c3 = (Xsquare + Ysquare + Zsquare - L1square - L2square - OFFsquare) / (2 * L1 * L2);

  if (c3 < 1 && c3 > -1)
  	  { // if requested point is part of WS

	  if (X >= 0 && Y > 0 && Mode == 1)
	  	  {
      s3_p = sqrt(1 - pow(c3, 2));

      Joint_target[2] = atan2(s3_p, c3);; //joint 3
      Joint_target[1] = atan2((L1 + L2 * c3) * Z + L2 * s3_p * K, -(L1 + L2 * c3) * K + L2 * s3_p * Z);

      c1 = (X / K + (Y * OFF) / Ksquare) / (1 + (OFFsquare) / Ksquare);
      s1 = sqrt(1 - pow(c1, 2));
      Joint_target[0] = atan2(-s1, -c1);
	  	  }

	  if (X >= 0 && Y > 0 && Mode == 0)
	  	  {
      s3_p = sqrt(1 - pow(c3, 2));

      Joint_target[2] = atan2(-s3_p, c3); //joint 3
      Joint_target[1] = atan2((L1 + L2 * c3) * Z + L2 * -s3_p * K, -(L1 + L2 * c3) * K + L2 * -s3_p * Z);

      c1 = (X / K + (Y * OFF) / Ksquare) / (1 + (OFFsquare) / Ksquare);
      s1 = sqrt(1 - pow(c1, 2));
      Joint_target[0] = atan2(-s1, -c1);
	  	  }

	  if (X <= 0 && Y >= 0 && Mode == 1)
	  	  {

      s3_p = sqrt(1 - pow(c3, 2));

      Joint_target[2] = atan2(s3_p, c3); //joint 3

      Joint_target[1] = atan2((L1 + L2 * c3) * Z + L2 * s3_p * K, -(L1 + L2 * c3) * K + L2 * s3_p * Z);

      c1 = (X / K + (Y * OFF) / Ksquare) / (1 + (OFFsquare) / Ksquare);
      s1 = sqrt(1 - pow(c1, 2));

      Joint_target[0] = atan2(-s1, -c1);
	  	  }

	  if(X <= 0 && Y >= 0 && Mode == 0) {

      s3_p = sqrt(1 - pow(c3, 2));

      Joint_target[2] = atan2(-s3_p, c3);

      Joint_target[1] = atan2((L1 + L2 * c3) * Z + L2 * -s3_p * K, -(L1 + L2 * c3) * K + L2 * -s3_p * Z);

      c1 = (X / K + (Y * OFF) / Ksquare) / (1 + (OFFsquare) / Ksquare);
      s1 = sqrt(1 - pow(c1, 2));

      Joint_target[0] = atan2(-s1, -c1);
    }

	  if(X >= 0 && Y <= 0 && Mode == 1)
	  {
		  s3_m = -sqrt(1-(c3*c3));

	  Joint_target[2]= atan2(s3_m,c3);

	  Joint_target[1] = atan2((L1 + L2*c3)*Z - L2*s3_m*K , (L1 + L2*c3)*K + L2*s3_m*Z);

	            float K_m = -Ksquare;

	           c1 = (X/-K + (Y*OFF)/(K_m*K_m)) / (1+(OFFsquare)/(K_m*K_m));

	            s1= sqrt(1-pow(c1,2));

	  Joint_target[0] = atan2(s1,c1) - 3.1415;

	  printf("%f %f %f\n",c1,s1,Joint_target[0]);
	  }
  }
  else
  {
	  printf("Requested target is not part of reachable workspace\n");

  }
}
// joint space trjector planener

void TrajectorPlanner(float q0[3], float qf[3], float t)
{
  // q0 initial pose
  // qf final pose
  // t trajector time (steps)
  float Ts = 0.1; //time division step

  float t_step = 0; //used as counter
  int counter = 0;

  float Ns = t/Ts; //Number of step;

  if(Ns > 2000) //max 20s planning at 0.1 Ts
	  {
	  printf("Ns cannot be higher than 2000");
	  return;
	  }

  float qd0[3];
  float qdf[3];
  float qdd0[3];
  float qddf[3];

  //define poly coefficent

  float a0[3];
  float a1[3];
  float a2[3];
  float a3[3];
  float a4[3];
  float a5[3];

  //from t i must create an array with n elements

  // fifth order polynomial interpolation function
  for (int i = 0; i < 3; i++) // execute for all the joint
  {
    qd0[i] = 0;
    qdd0[i] = 0;

    qdf[i] = 0;
    qddf[i] = 0;

    a0[i] = q0[i];
    a1[i] = qd0[i];
    a2[i] = 0.5 * qdd0[i];

    //execute FOR to compute time value of joint
    a3[i] = (1 / (2 * pow(t, 3))) * (20 * (qf[i] - q0[i]) - (8 * qdf[i] + 12 * qd0[i]) * t - (3 * qddf[i] - qdd0[i]) * (t * t));

    a4[i] = (1 / (2 * pow(t, 4))) * (30 * (q0[i] - qf[i]) + (14 * qdf[i] + 16 * qd0[i]) * t + (3 * qddf[i] - 2 * qdd0[i]) * t * t);

    a5[i] = (1 / (2 * pow(t, 5))) * (12 * (qf[i] - q0[i]) - 6 * (qdf[i] + qd0[i]) * t - (qddf[i] - qdd0[i]) * (t * t));

    for(counter = 0; counter < Ns+1; counter++ ) {
    t_step = counter*Ts;

    Joint_target_plan[counter][i] = a0[i] + a1[i] * t_step + a2[i] * t_step * t_step + a3[i] * pow(t_step, 3) + a4[i] * pow(t_step, 4) + a5[i] * pow(t_step, 5);

    Joint_speed_target_plan[counter][i] = a1[i] + 2 * a2[i] * t_step + 3 * a3[i] * t_step * t_step + 4 * a4[i] * pow(t_step, 3) + 5 * a5[i] * pow(t_step, 4);
    }
    //float qd_quintic = a1[i] + 2 * a2[i] * t + 3 * a3[i] * t * t + 4 * a4[i] * pow(t, 3) + 5 * a5[i] * pow(t, 4);

    //float qdd_quintic = 2 * a2[i] + 6 * a3[i] * t + 12 * a4[i] * t * t + 20 * a5[i] * pow(t, 3);

  }
}

void plan_step() {
	//every time is called, increment
	plan_counter++;
	if(plan_counter < 101) {
	  for(int m = 0; m<3; m++) {
		  Joint_target_planned[m] = Joint_target_plan[plan_counter][m];
		  Joint_speed_target_planned[m] =  Joint_speed_target_plan[plan_counter][0];

		  actualPos[0] = Joint_target_plan[plan_counter][0];

	  	  }
	}

	else {
		plan_counter = 0;
		flag_traj_compl = 1;
	}

}

void POPUP_start_plan() {
	//start timers base
	HAL_TIM_Base_Start_IT(&htim4);

}

void POPUP_stop_plan() {
	//start timers base
	HAL_TIM_Base_Stop_IT(&htim4);

}

void PositionController() {
//executed at 100 Hz
	for(int i = 1; i< 3; i++) {

	  pos_previous_error[i] = pos_error[i];

	  pos_error[i] = Joint_target_planned[i] - actualPos[i];

	  pos_integral[i] = pos_integral[i] + pos_error[i];

	  pos_derivative[i] = pos_error[i] - pos_previous_error[i];

	  //anti windup
	  if (pos_integral[i] > MAX_INTEGRAL_ERROR || pos_integral[i] < -MAX_INTEGRAL_ERROR) pos_integral[i] = 0;

	  pos_command[i] = pos_KP[i] * pos_error[i] + pos_KI[i] * pos_integral[i] + pos_KD[i] * pos_derivative[i];
	  //apply limit
	  if (pos_command[i] < - V_MAX) pos_command[i] = -V_MAX;

	  if (pos_command[i] > V_MAX)   pos_command[i] = V_MAX;

	  if(POS_CONTROLLER_DEBUG) {
		 printf("POS\\ MOT_ID: %d - Target: %10f - Actual: %10f - Error: %10f - Command: %10f\n",i+1,Joint_target_planned[i],actualPos[i],pos_error[i],pos_command[i]);

	  }

	}

	flag_pos_controller = 0;
}

void SpeedController() {
//executed at 1000 Hz
	for(int i = 1; i< 3; i++) {
		Joint_speed_target[i] = pos_command[i];

	  speed_previous_error[i] = speed_error[i];

	  speed_error[i] = Joint_speed_target[i] - actualSpeed[i];

	  speed_integral[i] = speed_integral[i] + speed_error[i];

	  speed_derivative[i] = speed_error[i] - speed_previous_error[i];

	  //anti windup
	  if (speed_integral[i] > MAX_INTEGRAL_ERROR || speed_integral[i] < -MAX_INTEGRAL_ERROR) speed_integral[i] = 0;

	  speed_command[i] = speed_KP[i] * speed_error[i] + speed_KI[i] * speed_integral[i] + speed_KD[i] * speed_derivative[i];
	  //apply limit
	  if (speed_command[i] < - T_MAX) speed_command[i] = -T_MAX;

	  if (speed_command[i] > T_MAX)   speed_command[i] = T_MAX;

	  if(SPEED_CONTROLLER_DEBUG) {
		//printf("SPEED\\ MOT_ID: %d - Target: %f - Actual: %f - Error: %f - Command: %f\n",i+1,Joint_speed_target[i],actualSpeed[i],speed_error[i],speed_command[i]);

	  }

	  SendTorque(i+1, speed_command[i]); //i+1 perche i motori sono 1,2,3

	  HAL_Delay(1);
	}
	flag_speed_controller = 0;

}

/*
 * veryfy system connectivity (motor,link,sensors)
 * 1 - send packet to motor and check response (3)
 * -- motor answer with its id in frame 0
 * 2 - send system_status request to link board (x2)
 * -- link board answer with its id in frame 0 and the status of sensors in other frame
 *
 *
 */
void POPUP_system_check() {
	//start procedure
	//moto
	printf("System check started..\n");

	HAL_GPIO_WritePin(GPIOB,LD3_Pin, SET); // red led on

	int i = 0;

	for(i = 1; i<3; i++) {
		DeactivateMotor(i+1);
		while(motor_status_flag[i] == 0)
			{
				printf("Motor %d not found\n",i+1);
				HAL_Delay(1000);
				DeactivateMotor(i+1);
			}
		printf("Motor %d found\n",i+1);
	}

	//link board status check
	//2 link board should be found

	for(i = 1; i < 2; i++) {
	while(link_status_flag[i] == 0) {
		printf("Link Board %d not found\n",i+1);
		HAL_Delay(1000);
	}
	HAL_GPIO_WritePin(GPIOB, LD3_Pin, RESET);

	if (link_status_flag[i] == 1) printf("Link %d Sensor OK\n",i+1);
    else if (link_status_flag[i] == 4) printf("Link Board %d IMUs error\n",i+1);
    else if (link_status_flag[i] == 2) printf("Link Board %d RBS_ADC error\n",i+1);
	}
	//sent status check command
	if(link_status_flag[0] == 1) {
	CAN_TX_link_board_status_check(10); //send status check to link board 1
	printf("sent status check to link board 1\n");
	}

	if(link_status_flag[1] == 1) {
	CAN_TX_link_board_status_check(11); //send status check to link board 1
	printf("sent status check to link board 2\n");
	}

	printf("\nSystem check completed\n\n\n");

}

void POPUP_activate_motors() {
	int i = 0;
		for(i = 0; i<3; i++) {
		ActivateMotor(i+1);
		HAL_Delay(100);
	}
}

void POPUP_start_controllers() {
	//start timers base
	HAL_TIM_Base_Start_IT(&htim2);
	HAL_TIM_Base_Start_IT(&htim3);

}

void POPUP_homing() {

	 Cartesian_target[0] = 0.5; //X
	  Cartesian_target[1] = -0.1; //Y
	  Cartesian_target[2] = 0.7; //Z

	  printf("Target = [ X: %f   Y: %f   Z: %f ]\n",Cartesian_target[0],Cartesian_target[1],Cartesian_target[2]);

	  InverseKinematic(Cartesian_target, 1); //Target[3] , Mode (elbow up,down)

	  printf("Joint Target = [ q1: %f   q2: %f   q3: %f ]\n",Joint_target[0],Joint_target[1],Joint_target[2]);
	  printf("Actual Joint position = [ q1: %f   q2: %f  q3: %f ]\n",actualPos[0],actualPos[1],actualPos[2]);
	  Joint_target[2] = -Joint_target[2];
	  printf("\nStarting trajectory planner...\n");

	  TrajectorPlanner(actualPos, Joint_target, 10);

	  printf("trajectory planning completed.\n");

	  if(TRAJ_PLAN_DEBUG) {
		  int i,j;
		  for(i = 0; i < 3; i++) {
			  for(j = 0; j < 101; j++) {
				  printf("T: %f q%d: %f  qd%d: %f\n",(j*0.1),i,Joint_target_plan[j][i],i,Joint_speed_target_plan[j][i]); //matrix of Ns rows and 3 column
			  	  }
			  printf("\n\n");
		  	  }
	  }

	  //assign the first planned variable to the position controller input
	  for(int m = 0; m<3; m++) {
		  Joint_target_planned[m] = Joint_target_plan[0][m];
	  }
}

void POPUP_calibrate_link_sensors(int id) {
	HAL_Delay(1000);
	CAN_TX_link_board_calibration(id); //send status check to link board 1
	printf("sent calibration command to link board %d\n\n",(id - 9));
	//wait calibration check from link board
    while(link_cal_check[id - 10] == 0) {
    	printf("Waiting calibration check from link board\n");
    	HAL_Delay(1000);
    }
    printf("Calibration check received from link board %d\n",(id - 9));
}

void HAL_TIM_PeriodElapsedCallback(TIM_HandleTypeDef *htim) {
	// Check which version of the timer triggered this callback and toggle LED
	if (htim == &htim2) {
		if(input_flag == 0)
		flag_speed_controller = 1;
		else
		SpeedController();
	}
	if (htim == &htim3) {
		if(input_flag == 0)
		flag_pos_controller = 1;
		else
		PositionController();
	}

	if (htim == &htim4) {
		plan_step();
	}

}

void HAL_UART_RxCpltCallback(UART_HandleTypeDef *huart)
{
	//UART3_rxBuffer[3] = "\0" ;
	input_counter++;

	int xx = (int) atoi ((const char *) UART3_rxBuffer) ;

	//this callback is activate when new input has to be inseterd
	if(input_counter == 1) {//inserted X
		temp_x = xx;
		printf("X: %d\n",temp_x);
	}

	if(input_counter == 2) {//inserted y
			temp_y = xx;
			printf("Y: %d\n",temp_y);
	}

	if(input_counter == 3) {//inserted z
				temp_z = xx;
				printf("Z: %d\n",temp_z);
				flag_wait_new_input = 1;

	}

	for(int i = 0; i< 4; i++) {
	UART3_rxBuffer[i] = 0;
	}

	HAL_UART_Receive_IT(&huart3, UART3_rxBuffer, 4);

}

float uint_to_float( int x_int , float x_min , float x_max , int bits) {

  float span = x_max - x_min;
  float offset = x_min;

  return ((float)x_int) * span / ((float)((1 << bits) - 1)) + offset;

}

int float_to_uint(float x, float x_min , float x_max, unsigned int bits) {

  float span = x_max - x_min;
  if (x < x_min) x = x_min;
  else if (x > x_max ) x = x_max;

  return (int)((x - x_min) * ((float)((1 << bits) - 1) / span));

}
/* USER CODE END 4 */

void Error_Handler(void)
{
  __disable_irq();
  while (1)
  {
  }
}

/************************ (C) COPYRIGHT STMicroelectronics *****END OF FILE****/
